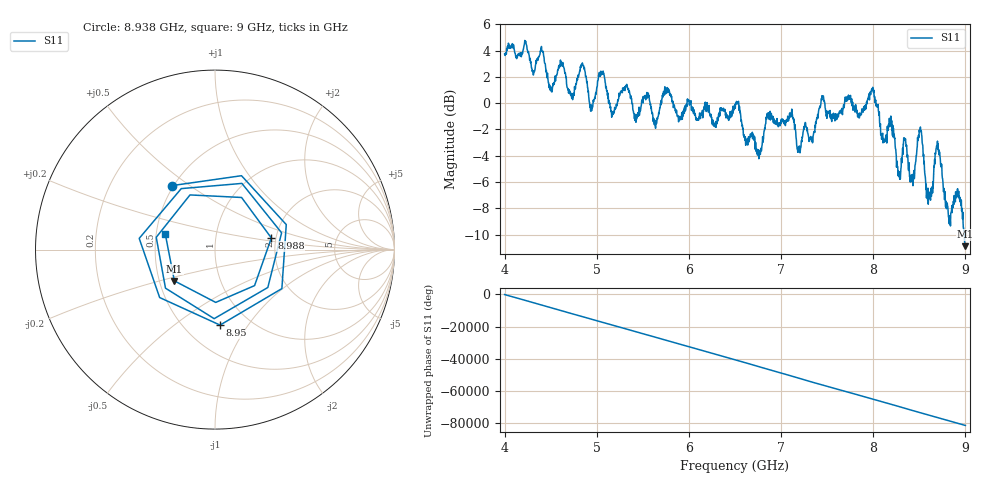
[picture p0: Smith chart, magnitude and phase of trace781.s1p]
! Created with skrf 1.8.0 (http://scikit-rf.org).
# Hz S RI R 50.0
!freq ReS11 ImS11
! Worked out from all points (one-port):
!   1601 points, 4 GHz to 9 GHz, reference 50 ohm
!   lowest |S11| = -10.9 dB at 8.997 GHz (marker M1), VSWR 1.80, Z = 29.9 - j11.4 ohm
!   |S11| at or under -10 dB: 8.988567 GHz to end of sweep
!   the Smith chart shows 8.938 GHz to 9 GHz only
!   S11 on the Smith chart (normalised r, x): 8.938 GHz: 0.49, +0.43; 8.95 GHz: 0.73, -0.75; 8.988 GHz: 1.89, +0.27; 9 GHz: 0.56, +0.10
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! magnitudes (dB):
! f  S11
! 4 GHz  3.7
! 4.625 GHz  2.8
! 4.728 GHz  0.4
! 4.85 GHz  2.9
! 4.941 GHz  -0.2
! 5.05 GHz  2.3
! 5.25 GHz  0.6
! 5.875 GHz  -1.0
! 6.5 GHz  -0.1
! 6.753 GHz  -3.9
! 6.862 GHz  -0.7
! 7.125 GHz  -1.0
! 7.194 GHz  -3.7
! 7.444 GHz  0.6
! 7.75 GHz  0.3
! 7.991 GHz  1.0
! 8.278 GHz  -5.4
! 8.375 GHz  -4.0
! 8.425 GHz  -5.5
! 8.506 GHz  -2.0
! 8.597 GHz  -7.7
! 8.697 GHz  -2.9
! 8.812 GHz  -8.2
! 8.938 GHz  -7.4
! 8.95 GHz  -7.5
! 8.988 GHz  -9.9
! 8.997 GHz  -10.9
! 9 GHz  -10.8
